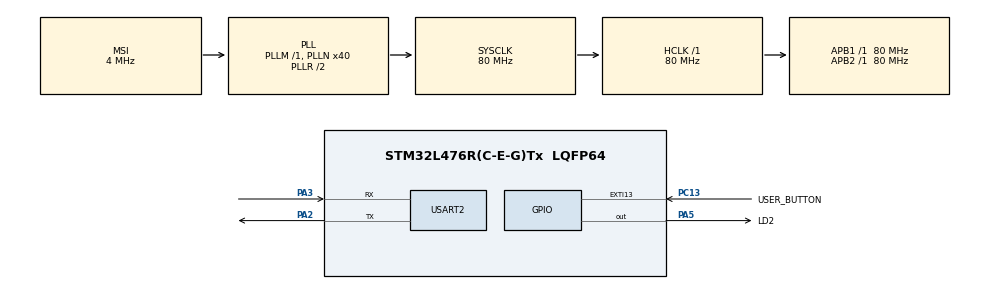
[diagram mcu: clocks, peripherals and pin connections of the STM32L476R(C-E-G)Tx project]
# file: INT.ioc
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Mcu.Family=STM32L4
Mcu.Name=STM32L476R(C-E-G)Tx
Mcu.Package=LQFP64
NVIC.EXTI15_10_IRQn=true\:7\:0\:true\:false\:true\:true\:true\:true
NVIC.PriorityGroup=NVIC_PRIORITYGROUP_4
NVIC.USART2_IRQn=true\:10\:0\:true\:false\:true\:true\:true\:true
PA13\ (JTMS-SWDIO).Mode=Serial_Wire
PA13\ (JTMS-SWDIO).Signal=SYS_JTMS-SWDIO
PA14\ (JTCK-SWCLK).Mode=Serial_Wire
PA14\ (JTCK-SWCLK).Signal=SYS_JTCK-SWCLK
PA2.Mode=Asynchronous
PA2.Signal=USART2_TX
PA3.Mode=Asynchronous
PA3.Signal=USART2_RX
PA5.GPIO_Label=LD2
PA5.Signal=GPIO_Output
PC13.GPIO_Label=USER_BUTTON
PC13.Signal=GPXTI13
ProjectManager.HeapSize=0x200
ProjectManager.StackSize=0x400
ProjectManager.TargetToolchain=STM32CubeIDE
RCC.AHBFreq_Value=80000000
RCC.APB1Freq_Value=80000000
RCC.APB1TimFreq_Value=80000000
RCC.APB2Freq_Value=80000000
RCC.APB2TimFreq_Value=80000000
RCC.CortexFreq_Value=80000000
RCC.HCLKFreq_Value=80000000
RCC.HSE_VALUE=8000000
RCC.HSI_VALUE=16000000
RCC.LSE_VALUE=32768
RCC.MSI_VALUE=4000000
RCC.PLLN=40
RCC.SYSCLKFreq_VALUE=80000000
RCC.SYSCLKSource=RCC_SYSCLKSOURCE_PLLCLK
RCC.VCOOutputFreq_Value=160000000
USART2.VirtualMode-Asynchronous=VM_ASYNC
board=custom

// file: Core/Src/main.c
/* USER CODE BEGIN Header */
/**
  ******************************************************************************
  * @file           : main.c
  * @brief          : Main program body
  ******************************************************************************
  * @attention
  *
  * Copyright (c) 2022 STMicroelectronics.
  * All rights reserved.
  *
  * This software is licensed under terms that can be found in the LICENSE file
  * in the root directory of this software component.
  * If no LICENSE file comes with this software, it is provided AS-IS.
  *
  ******************************************************************************
  */
/* USER CODE END Header */
#include "main.h"
#include "usart.h"
#include "gpio.h"

/* USER CODE BEGIN Includes */
#include <stdio.h>
#include <string.h>
#include <stdbool.h>
/* USER CODE END Includes */

/* USER CODE BEGIN PD */
#define LINE_MAX_LENGTH 80
/* USER CODE END PD */

void SystemClock_Config(void);

/* USER CODE BEGIN 0 */

static char line_buffer[LINE_MAX_LENGTH + 1];
static uint32_t line_length;

void line_append(uint8_t value)
{
	if ( (value == '\r') || (value ==  '\n') )
	{
		if (line_length > 0)
		{
			line_buffer[line_length] = '\0';

			if ( strcmp(line_buffer, "on") == 0)
			{
				HAL_GPIO_WritePin(LD2_GPIO_Port, LD2_Pin, GPIO_PIN_SET);
			}
			else if ( strcmp(line_buffer, "off") == 0)
			{
				HAL_GPIO_WritePin(LD2_GPIO_Port, LD2_Pin, GPIO_PIN_RESET);
			}
			else
			{
				printf("Unknown command:\n");
			}
			printf("Received: %s\n", line_buffer);

			line_length = 0;
		}
	}
	else
	{
		if (line_length >= LINE_MAX_LENGTH)
		{
			line_length = 0;
			printf("Too long sentence - maximum is 80 characters\n");
		}
		line_buffer[line_length++] = value;
	}
}

int __io_putchar(int ch)
{
	if ( ch=='\n')
	{
		uint8_t ch2 = '\r';
		HAL_UART_Transmit(&huart2, (uint8_t*)&ch2, 1, HAL_MAX_DELAY);
	}
	HAL_UART_Transmit(&huart2, (uint8_t*)&ch, 1, HAL_MAX_DELAY);
	return 1;
}

bool is_button_pressed(void)
{
	if ( HAL_GPIO_ReadPin(USER_BUTTON_GPIO_Port, USER_BUTTON_Pin) == GPIO_PIN_RESET )
	{
		return true;
	}
	else
	{
		return false;
	}
}

volatile uint32_t push_counter;

void HAL_GPIO_EXTI_Callback(uint16_t GPIO_Pin)
{
	if (GPIO_Pin == USER_BUTTON_Pin)
	{
		push_counter++;
	}
}

typedef enum
{
	MESSAGE_1,
	MESSAGE_2,
	DONE
}message_status_t;

message_status_t message_status = MESSAGE_1;

void send_next_message(void)
{
	static char message[] = "Hello World!\r\n";
	static char message2[] = "Interrupts\r\n";

	switch (message_status)
	{
	case 0:
		HAL_UART_Transmit_IT(&huart2, (uint8_t*)message, strlen(message));
		message_status = MESSAGE_2;
		break;
	case 1:
		HAL_UART_Transmit_IT(&huart2, (uint8_t*)message2, strlen(message2));
		message_status = DONE;
		break;
	default:
		break;
	}
}

void HAL_UART_TxCpltCallback(UART_HandleTypeDef *huart)
{
	if (huart == &huart2)
		{
			send_next_message();
		}
}

uint8_t uart_rx_buffer;

void HAL_UART_RxCpltCallback(UART_HandleTypeDef *huart)
{
	if (huart == &huart2)
	{
		line_append(uart_rx_buffer);
		HAL_UART_Receive_IT(huart, &uart_rx_buffer, 1);
	}
}

/* USER CODE END 0 */

int main(void)
{

  /* MCU Configuration--------------------------------------------------------*/

  /* Reset of all peripherals, Initializes the Flash interface and the Systick. */
  HAL_Init();

  /* Configure the system clock */
  SystemClock_Config();

  /* Initialize all configured peripherals */
  MX_GPIO_Init();
  MX_USART2_UART_Init();
  /* USER CODE BEGIN 2 */

  send_next_message();
  HAL_UART_Receive_IT(&huart2, &uart_rx_buffer, 1);

  /* USER CODE END 2 */

  /* Infinite loop */
  /* USER CODE BEGIN WHILE */

  uint32_t old_push_counter = push_counter;

  while (1)
  {

	  if ( old_push_counter != push_counter )
	  {
		  printf("USER_BUTTON counter = %lu\n", push_counter);
		  old_push_counter = push_counter;
	  }

    /* USER CODE END WHILE */

  }
}

void SystemClock_Config(void)
{
  RCC_OscInitTypeDef RCC_OscInitStruct = {0};
  RCC_ClkInitTypeDef RCC_ClkInitStruct = {0};

  /** Configure the main internal regulator output voltage
  */
  if (HAL_PWREx_ControlVoltageScaling(PWR_REGULATOR_VOLTAGE_SCALE1) != HAL_OK)
  {
    Error_Handler();
  }

  /** Initializes the RCC Oscillators according to the specified parameters
  * in the RCC_OscInitTypeDef structure.
  */
  RCC_OscInitStruct.OscillatorType = RCC_OSCILLATORTYPE_MSI;
  RCC_OscInitStruct.MSIState = RCC_MSI_ON;
  RCC_OscInitStruct.MSICalibrationValue = 0;
  RCC_OscInitStruct.MSIClockRange = RCC_MSIRANGE_6;
  RCC_OscInitStruct.PLL.PLLState = RCC_PLL_ON;
  RCC_OscInitStruct.PLL.PLLSource = RCC_PLLSOURCE_MSI;
  RCC_OscInitStruct.PLL.PLLM = 1;
  RCC_OscInitStruct.PLL.PLLN = 40;
  RCC_OscInitStruct.PLL.PLLP = RCC_PLLP_DIV7;
  RCC_OscInitStruct.PLL.PLLQ = RCC_PLLQ_DIV2;
  RCC_OscInitStruct.PLL.PLLR = RCC_PLLR_DIV2;
  if (HAL_RCC_OscConfig(&RCC_OscInitStruct) != HAL_OK)
  {
    Error_Handler();
  }

  /** Initializes the CPU, AHB and APB buses clocks
  */
  RCC_ClkInitStruct.ClockType = RCC_CLOCKTYPE_HCLK|RCC_CLOCKTYPE_SYSCLK
                              |RCC_CLOCKTYPE_PCLK1|RCC_CLOCKTYPE_PCLK2;
  RCC_ClkInitStruct.SYSCLKSource = RCC_SYSCLKSOURCE_PLLCLK;
  RCC_ClkInitStruct.AHBCLKDivider = RCC_SYSCLK_DIV1;
  RCC_ClkInitStruct.APB1CLKDivider = RCC_HCLK_DIV1;
  RCC_ClkInitStruct.APB2CLKDivider = RCC_HCLK_DIV1;

  if (HAL_RCC_ClockConfig(&RCC_ClkInitStruct, FLASH_LATENCY_4) != HAL_OK)
  {
    Error_Handler();
  }
}

void Error_Handler(void)
{
  __disable_irq();
  while (1)
  {
  }
}
